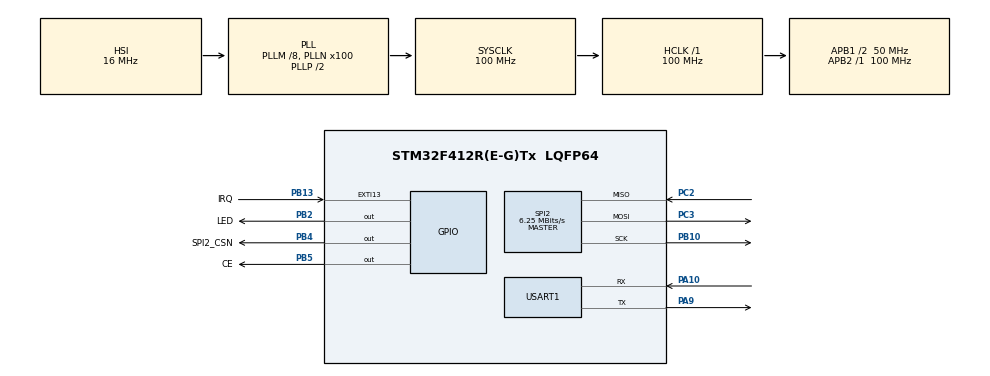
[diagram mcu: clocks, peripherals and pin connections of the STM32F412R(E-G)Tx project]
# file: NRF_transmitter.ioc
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Mcu.Family=STM32F4
Mcu.Name=STM32F412R(E-G)Tx
Mcu.Package=LQFP64
NVIC.EXTI15_10_IRQn=true\:0\:0\:false\:false\:true\:true\:true\:true
NVIC.PriorityGroup=NVIC_PRIORITYGROUP_4
PA10.Mode=Asynchronous
PA10.Signal=USART1_RX
PA13.Mode=Serial_Wire
PA13.Signal=SYS_JTMS-SWDIO
PA14.Mode=Serial_Wire
PA14.Signal=SYS_JTCK-SWCLK
PA9.Mode=Asynchronous
PA9.Signal=USART1_TX
PB10.Mode=Full_Duplex_Master
PB10.Signal=SPI2_SCK
PB13.GPIO_Label=IRQ
PB13.GPIO_ModeDefaultEXTI=GPIO_MODE_IT_FALLING
PB13.Signal=GPXTI13
PB2.GPIO_Label=LED
PB2.PinState=GPIO_PIN_SET
PB2.Signal=GPIO_Output
PB4.GPIO_Label=SPI2_CSN
PB4.GPIO_Speed=GPIO_SPEED_FREQ_HIGH
PB4.PinState=GPIO_PIN_SET
PB4.Signal=GPIO_Output
PB5.GPIO_Label=CE
PB5.GPIO_Speed=GPIO_SPEED_FREQ_HIGH
PB5.PinState=GPIO_PIN_RESET
PB5.Signal=GPIO_Output
PC14-OSC32_IN.Mode=LSE-External-Oscillator
PC14-OSC32_IN.Signal=RCC_OSC32_IN
PC15-OSC32_OUT.Mode=LSE-External-Oscillator
PC15-OSC32_OUT.Signal=RCC_OSC32_OUT
PC2.Mode=Full_Duplex_Master
PC2.Signal=SPI2_MISO
PC3.Mode=Full_Duplex_Master
PC3.Signal=SPI2_MOSI
PH0\ -\ OSC_IN.Mode=HSE-External-Oscillator
PH0\ -\ OSC_IN.Signal=RCC_OSC_IN
PH1\ -\ OSC_OUT.Mode=HSE-External-Oscillator
PH1\ -\ OSC_OUT.Signal=RCC_OSC_OUT
ProjectManager.HeapSize=0x200
ProjectManager.StackSize=0x400
ProjectManager.TargetToolchain=STM32CubeIDE
RCC.AHBFreq_Value=100000000
RCC.APB1CLKDivider=RCC_HCLK_DIV2
RCC.APB1Freq_Value=50000000
RCC.APB1TimFreq_Value=100000000
RCC.APB2Freq_Value=100000000
RCC.APB2TimFreq_Value=100000000
RCC.CortexFreq_Value=100000000
RCC.HCLKFreq_Value=100000000
RCC.HSE_VALUE=8000000
RCC.PLLI2SM=12
RCC.PLLI2SN=96
RCC.PLLM=8
RCC.PLLN=100
RCC.SYSCLKFreq_VALUE=100000000
RCC.SYSCLKSource=RCC_SYSCLKSOURCE_PLLCLK
RCC.USBFreq_Value=100000000
RCC.VCOOutputFreq_Value=200000000
SPI2.BaudRatePrescaler=SPI_BAUDRATEPRESCALER_8
SPI2.CalculateBaudRate=6.25 MBits/s
SPI2.Direction=SPI_DIRECTION_2LINES
SPI2.Mode=SPI_MODE_MASTER
SPI2.VirtualType=VM_MASTER
USART1.VirtualMode=VM_ASYNC
board=custom

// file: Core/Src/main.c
/* USER CODE BEGIN Header */
/**
  ******************************************************************************
  * @file           : main.c
  * @brief          : Main program body
  ******************************************************************************
  * @attention
  *
  * Copyright (c) 2025 STMicroelectronics.
  * All rights reserved.
  *
  * This software is licensed under terms that can be found in the LICENSE file
  * in the root directory of this software component.
  * If no LICENSE file comes with this software, it is provided AS-IS.
  *
  ******************************************************************************
  */
/* USER CODE END Header */
#include "main.h"
#include "spi.h"
#include "usart.h"
#include "gpio.h"

/* USER CODE BEGIN Includes */
#include "nrf24l01p.h"
#include <string.h>   // for strlen, memcpy, memset
#include <stdio.h>
/* USER CODE END Includes */

/* USER CODE BEGIN PD */

//#define TRANSMITTER
#define RECEIVER
/* USER CODE END PD */

/* USER CODE BEGIN PV */
uint8_t rx_data[NRF24L01P_PAYLOAD_LENGTH] = {0};
uint8_t tx_data[NRF24L01P_PAYLOAD_LENGTH] = {0, 1, 2, 3, 4, 5, 6, 7};
char data[128] = "<S>ID_1:32.5,ID_2:32.5,ID_3:28.0,ID_4:45.0,ID_5:30.0,ID_6:30.0,ID_22:20<E>";
uint8_t tx_payload[32] = {0};           // assume fixed 32-byte payload
uint8_t rx_payload[32] ;           // assume fixed 32-byte payload
float rx_lat = 0.0f, rx_lon = 0.0f;

/* USER CODE END PV */

void SystemClock_Config(void);
/* USER CODE BEGIN PFP */
//void HAL_GPIO_EXTI_Callback(uint16_t GPIO_Pin);

/* USER CODE END PFP */

/* USER CODE BEGIN 0 */
static void set_lat_lon_in_payload(char *data, size_t data_sz, float lat, float lon)
{
    float id1, id2, id3, id4, id5, id6,id22;

    // Parse the current values
    if (sscanf(data,
               "<S>ID_1:%f,ID_2:%f,ID_3:%f,ID_4:%f,ID_5:%f,ID_6:%f,ID_22:%f<E>",
               &id1, &id2, &id3, &id4, &id5, &id6,&id22) == 7)
    {
        // Overwrite ID_4 and ID_5 with lat/lon
        id5 = lat;
        id6 = lon;

        // Rebuild the string (%.1f -> one decimal like your sample)
        snprintf(data, data_sz,
                 "<S>ID_1:%.1f,ID_2:%.1f,ID_3:%.1f,ID_4:%.1f,ID_5:%.1f,ID_6:%.1f,ID_22:%f<E>",
                 id1, id2, id3, id4, id5, id6,id6);
    }

}

// Send len bytes in 32-byte NRF24 payloads
static void nrf_send_bytes(const uint8_t *buf, size_t len)
{
    size_t pos = 0;
    while (pos < len) {
        size_t n = (len - pos > NRF24L01P_PAYLOAD_LENGTH)
                 ? NRF24L01P_PAYLOAD_LENGTH
                 : (len - pos);
        memset(tx_data, 0, NRF24L01P_PAYLOAD_LENGTH);
        memcpy(tx_data, buf + pos, n);
        nrf24l01p_tx_transmit(tx_data);    // your driver call
        pos += n;
        HAL_Delay(2);                      // short gap between frames
    }
}

/* USER CODE END 0 */

int main(void)
{

  /* MCU Configuration--------------------------------------------------------*/

  /* Reset of all peripherals, Initializes the Flash interface and the Systick. */
  HAL_Init();
  srand(HAL_GetTick());

  /* Configure the system clock */
  SystemClock_Config();

  /* Initialize all configured peripherals */
  MX_GPIO_Init();
  MX_SPI2_Init();
  HAL_Delay(100);
  MX_USART1_UART_Init();
  /* USER CODE BEGIN 2 */

#ifdef RECEIVER
  	nrf24l01p_rx_init(2500, _1Mbps);
#endif

 #ifdef TRANSMITTER
	nrf24l01p_tx_init(2500, _1Mbps);
 #endif
	HAL_GPIO_TogglePin(GPIOB, GPIO_PIN_2);

  /* USER CODE END 2 */

  /* Infinite loop */
  while (1)
  {

    /* USER CODE BEGIN 3 */
	#ifdef RECEIVER
		  // Nothing to do
	  HAL_GPIO_TogglePin(GPIOB, GPIO_PIN_2);
		HAL_Delay(1000);

	#endif

	#ifdef TRANSMITTER

		  /* Test 1
		    for(int i= 0; i < 8; i++)
		  {
			  tx_data[i]++;
		  }
		  nrf24l01p_tx_transmit(tx_data);
		  uart1_send_raw(tx_data);
		  HAL_Delay(1000);
		   */

		  /* Test 2	*/
	  //Random float
//			int   lat10 = (rand() % 1801) - 900;    // step = 0.1
//			int   lon10 = (rand() % 3601) - 1800;   // step = 0.1
//			float lat   = lat10 / 10.0f;
//			float lon   = lon10 / 10.0f;
	  // Not ranndom
	  // Put these at file scope or as static inside your loop function
	  static int lat10 = 0;
	  static int lon10 = 0;

	  // Each time you need new values:
	  if (++lat10 > 100) lat10 = 1;
	  if (++lon10 > 100) lon10 = 1;

	  float lat = lat10 / 10.0f;   // 0.1 .. 10.0
	  float lon = lon10 / 10.0f;   // 0.1 .. 10.0

			memcpy(&tx_payload[0], &lat, sizeof(float));  // 4 bytes
			memcpy(&tx_payload[4], &lon, sizeof(float));  // next 4 bytes

			nrf24l01p_tx_transmit(tx_payload);

			set_lat_lon_in_payload(data, sizeof data, lat, lon);
			HAL_UART_Transmit(&huart1, (uint8_t*)data, (uint16_t)strlen(data), 100);
			HAL_Delay(1000);
	#endif

  }
  /* USER CODE END 3 */
}

void SystemClock_Config(void)
{
  RCC_OscInitTypeDef RCC_OscInitStruct = {0};
  RCC_ClkInitTypeDef RCC_ClkInitStruct = {0};

  /** Configure the main internal regulator output voltage
  */
  __HAL_RCC_PWR_CLK_ENABLE();
  __HAL_PWR_VOLTAGESCALING_CONFIG(PWR_REGULATOR_VOLTAGE_SCALE1);

  /** Initializes the RCC Oscillators according to the specified parameters
  * in the RCC_OscInitTypeDef structure.
  */
  RCC_OscInitStruct.OscillatorType = RCC_OSCILLATORTYPE_HSI;
  RCC_OscInitStruct.HSIState = RCC_HSI_ON;
  RCC_OscInitStruct.HSICalibrationValue = RCC_HSICALIBRATION_DEFAULT;
  RCC_OscInitStruct.PLL.PLLState = RCC_PLL_ON;
  RCC_OscInitStruct.PLL.PLLSource = RCC_PLLSOURCE_HSI;
  RCC_OscInitStruct.PLL.PLLM = 8;
  RCC_OscInitStruct.PLL.PLLN = 100;
  RCC_OscInitStruct.PLL.PLLP = RCC_PLLP_DIV2;
  RCC_OscInitStruct.PLL.PLLQ = 2;
  RCC_OscInitStruct.PLL.PLLR = 2;
  if (HAL_RCC_OscConfig(&RCC_OscInitStruct) != HAL_OK)
  {
    Error_Handler();
  }

  /** Initializes the CPU, AHB and APB buses clocks
  */
  RCC_ClkInitStruct.ClockType = RCC_CLOCKTYPE_HCLK|RCC_CLOCKTYPE_SYSCLK
                              |RCC_CLOCKTYPE_PCLK1|RCC_CLOCKTYPE_PCLK2;
  RCC_ClkInitStruct.SYSCLKSource = RCC_SYSCLKSOURCE_PLLCLK;
  RCC_ClkInitStruct.AHBCLKDivider = RCC_SYSCLK_DIV1;
  RCC_ClkInitStruct.APB1CLKDivider = RCC_HCLK_DIV2;
  RCC_ClkInitStruct.APB2CLKDivider = RCC_HCLK_DIV1;

  if (HAL_RCC_ClockConfig(&RCC_ClkInitStruct, FLASH_LATENCY_3) != HAL_OK)
  {
    Error_Handler();
  }
}

/* USER CODE BEGIN 4 */

	void HAL_GPIO_EXTI_Callback(uint16_t GPIO_Pin)
	{
		if(GPIO_Pin == NRF24L01P_IRQ_PIN_NUMBER)
		{
	#ifdef RECEIVER
			// Test 1
//			nrf24l01p_rx_receive(rx_data);
//			uart1_send_raw(rx_data);
			//Test  2
			nrf24l01p_rx_receive(rx_payload);       // fills rx_payload

			// First 8 bytes are two floats: [0..3]=lat, [4..7]=lon
			memcpy(&rx_lat, &rx_payload[0], 4);
			memcpy(&rx_lon, &rx_payload[4], 4);
	#endif

	#ifdef TRANSMITTER
			nrf24l01p_tx_irq();
	#endif
		}

}

/* USER CODE END 4 */

void Error_Handler(void)
{
  /* USER CODE BEGIN Error_Handler_Debug */
  /* User can add his own implementation to report the HAL error return state */
  __disable_irq();
  while (1)
  {
	  HAL_GPIO_TogglePin(GPIOC, GPIO_PIN_13);

  }
  /* USER CODE END Error_Handler_Debug */
}
